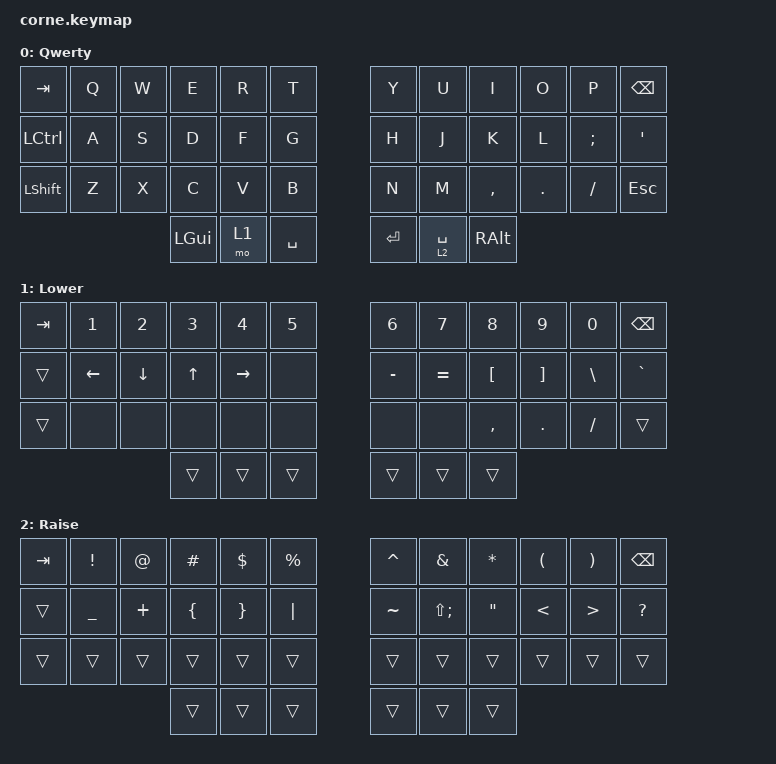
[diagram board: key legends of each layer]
/* Corne default-style keymap (hand written for tests) */
#include <behaviors.dtsi>
#include <dt-bindings/zmk/keys.h>
#include <dt-bindings/zmk/bt.h>

/ {
    keymap {
        compatible = "zmk,keymap";

        qwerty_layer {
            display-name = "Qwerty";
            bindings = <
            &kp TAB &kp Q &kp W &kp E &kp R &kp T   &kp Y &kp U &kp I &kp O &kp P &kp BSPC
            &kp LCTRL &kp A &kp S &kp D &kp F &kp G   &kp H &kp J &kp K &kp L &kp SEMI &kp SQT
            &kp LSHIFT &kp Z &kp X &kp C &kp V &kp B   &kp N &kp M &kp COMMA &kp DOT &kp FSLH &kp ESC
                           &kp LGUI &mo 1 &kp SPACE   &kp RET &lt 2 SPACE &kp RALT
            >;
        };

        lower_layer {
            display-name = "Lower";
            bindings = <
            &kp TAB &kp N1 &kp N2 &kp N3 &kp N4 &kp N5   &kp N6 &kp N7 &kp N8 &kp N9 &kp N0 &kp BSPC
            &trans &kp LEFT &kp DOWN &kp UP &kp RIGHT &none   &kp MINUS &kp EQUAL &kp LBKT &kp RBKT &kp BSLH &kp GRAVE
            &trans &none &none &none &none &none   &none &none &kp COMMA &kp DOT &kp FSLH &trans
                           &trans &trans &trans   &trans &trans &trans
            >;
        };

        raise_layer {
            display-name = "Raise";
            bindings = <
            &kp TAB &kp EXCL &kp AT &kp HASH &kp DLLR &kp PRCNT   &kp CARET &kp AMPS &kp STAR &kp LPAR &kp RPAR &kp BSPC
            &trans &kp UNDER &kp PLUS &kp LBRC &kp RBRC &kp PIPE   &kp TILDE &kp LS(SEMI) &kp DQT &kp LT &kp GT &kp QMARK
            &trans &trans &trans &trans &trans &trans   &trans &trans &trans &trans &trans &trans
                           &trans &trans &trans   &trans &trans &trans
            >;
        };
    };
};
